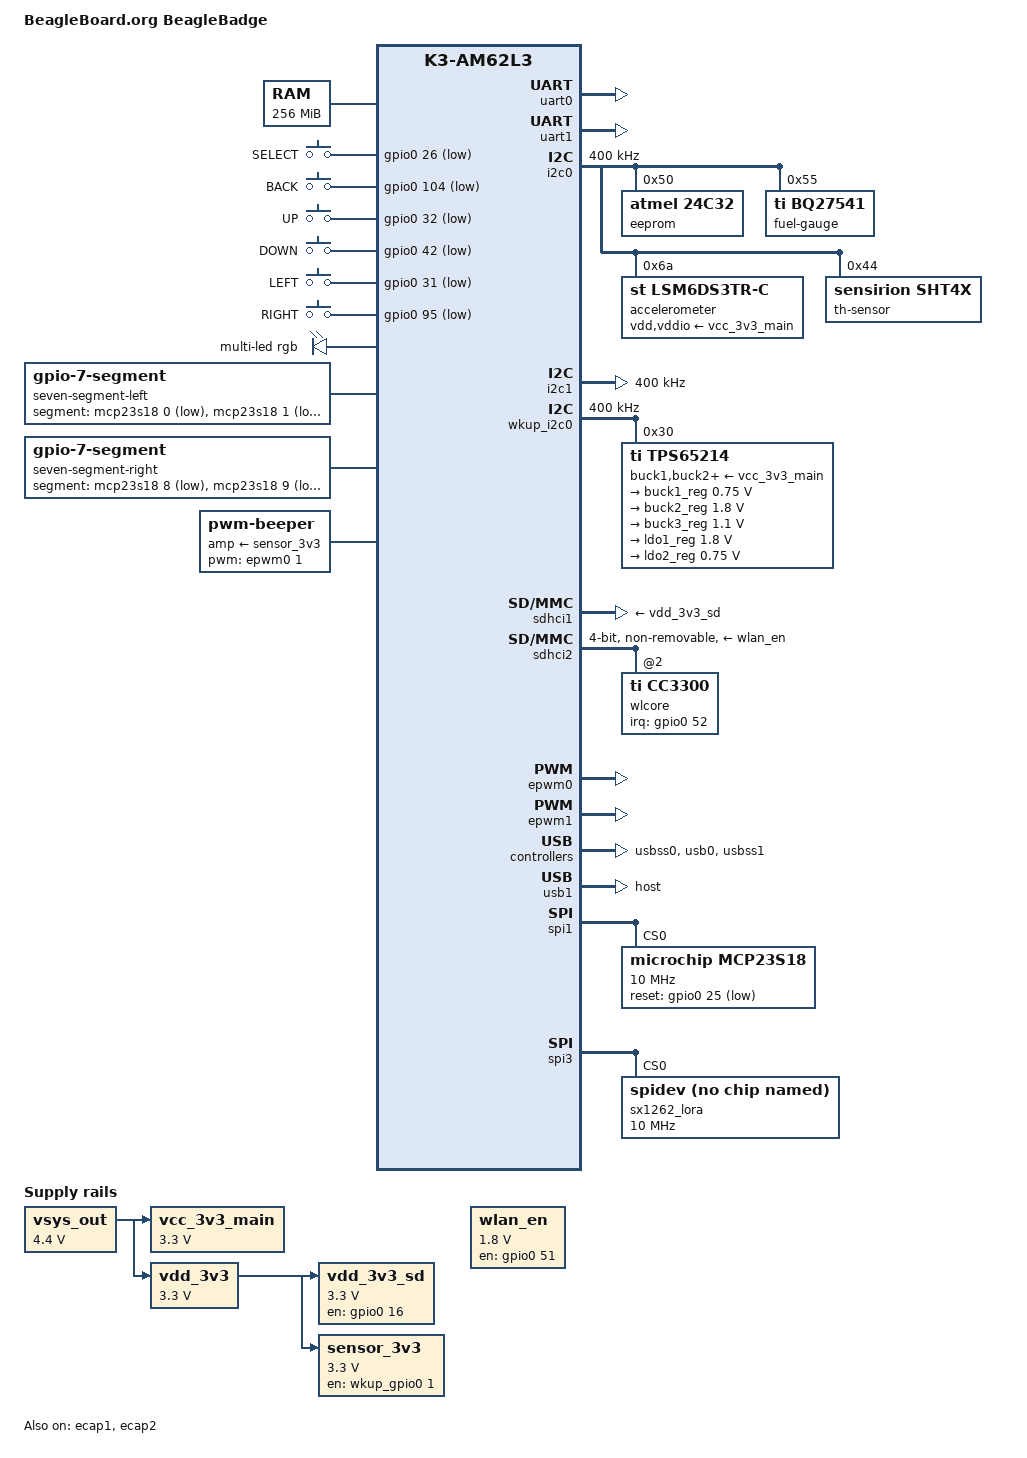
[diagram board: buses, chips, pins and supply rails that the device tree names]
// SPDX-License-Identifier: GPL-2.0
/*
 * https://www.beagleboard.org/boards/beaglebadge
 *
 * Copyright (C) 2026 Texas Instruments Incorporated - https://www.ti.com/
 */

/dts-v1/;

#include <dt-bindings/gpio/gpio.h>
#include <dt-bindings/input/input.h>
#include <dt-bindings/leds/common.h>
#include <dt-bindings/net/ti-dp83867.h>
#include "k3-am62l3.dtsi"
#include "k3-pinctrl.h"

/ {
	compatible = "beagle,am62l3-badge", "ti,am62l3";
	model = "BeagleBoard.org BeagleBadge";

	chosen {
		stdout-path = &uart0;
	};

	aliases {
		gpio0 = &gpio0;
		gpio1 = &gpio2;
		gpio2 = &wkup_gpio0;
		i2c0 = &i2c0;
		i2c1 = &i2c1;
		i2c4 = &wkup_i2c0;
		mmc1 = &sdhci1;
		mmc2 = &sdhci2;
		serial3 = &uart1;
		usb0 = &usb0;
		usb1 = &usb1;
	};

	memory@80000000 {
		/* 256MB */
		reg = <0x00000000 0x80000000 0x00000000 0x10000000>;
		device_type = "memory";
		bootph-all;
	};

	gpio_keys: gpio-keys {
		compatible = "gpio-keys";
		autorepeat;
		pinctrl-names = "default";
		pinctrl-0 = <&usr_button_default_pins>;

		button-select {
			label = "SELECT";
			linux,code = <KEY_SELECT>;
			gpios = <&gpio0 26 GPIO_ACTIVE_LOW>;
		};

		button-back {
			label = "BACK";
			linux,code = <KEY_BACK>;
			gpios = <&gpio0 104 GPIO_ACTIVE_LOW>;
		};

		button-up {
			label = "UP";
			linux,code = <KEY_UP>;
			gpios = <&gpio0 32 GPIO_ACTIVE_LOW>;
		};

		button-down {
			label = "DOWN";
			linux,code = <KEY_DOWN>;
			gpios = <&gpio0 42 GPIO_ACTIVE_LOW>;
		};

		button-left {
			label = "LEFT";
			linux,code = <KEY_LEFT>;
			gpios = <&gpio0 31 GPIO_ACTIVE_LOW>;
		};

		button-right {
			label = "RIGHT";
			linux,code = <KEY_RIGHT>;
			gpios = <&gpio0 95 GPIO_ACTIVE_LOW>;
		};
	};

	multicolor-led {
		compatible = "pwm-leds-multicolor";
		pinctrl-names = "default";
		pinctrl-0 = <&rgb_led_default_pins>;

		multi-led {
			color = <LED_COLOR_ID_RGB>;
			max-brightness = <255>;

			led-red {
				pwms = <&ecap2 0 255 0>;
				color = <LED_COLOR_ID_RED>;
			};

			led-green {
				pwms = <&ecap1 0 255 0>;
				color = <LED_COLOR_ID_GREEN>;
			};

			led-blue {
				pwms = <&epwm1 1 255 0>;
				color = <LED_COLOR_ID_BLUE>;
			};
		};
	};

	seven-segment-left {
		compatible = "gpio-7-segment";
		segment-gpios = <&mcp23s18 0 GPIO_ACTIVE_LOW>,
				<&mcp23s18 1 GPIO_ACTIVE_LOW>,
				<&mcp23s18 2 GPIO_ACTIVE_LOW>,
				<&mcp23s18 3 GPIO_ACTIVE_LOW>,
				<&mcp23s18 4 GPIO_ACTIVE_LOW>,
				<&mcp23s18 5 GPIO_ACTIVE_LOW>,
				<&mcp23s18 6 GPIO_ACTIVE_LOW>,
				<&mcp23s18 7 GPIO_ACTIVE_LOW>;
	};

	seven-segment-right {
		compatible = "gpio-7-segment";
		segment-gpios = <&mcp23s18 8 GPIO_ACTIVE_LOW>,
				<&mcp23s18 9 GPIO_ACTIVE_LOW>,
				<&mcp23s18 10 GPIO_ACTIVE_LOW>,
				<&mcp23s18 11 GPIO_ACTIVE_LOW>,
				<&mcp23s18 12 GPIO_ACTIVE_LOW>,
				<&mcp23s18 13 GPIO_ACTIVE_LOW>,
				<&mcp23s18 14 GPIO_ACTIVE_LOW>,
				<&mcp23s18 15 GPIO_ACTIVE_LOW>;
	};

	pwm-beeper {
		compatible = "pwm-beeper";
		pwms = <&epwm0 1 1000000 0>;
		amp-supply = <&sensor_3v3>;
		pinctrl-names = "default";
		pinctrl-0 = <&pwm_beeper_default_pins>;
	};

	vsys_out: regulator-0 {
		/* output of BQ24070 */
		compatible = "regulator-fixed";
		regulator-name = "VSYS_OUT";
		regulator-min-microvolt = <4400000>;
		regulator-max-microvolt = <4400000>;
		regulator-always-on;
		regulator-boot-on;
		bootph-all;
	};

	vcc_3v3_main: regulator-1 {
		/* output of TPS62A06 */
		compatible = "regulator-fixed";
		regulator-name = "VCC_3V3_MAIN";
		regulator-min-microvolt = <3300000>;
		regulator-max-microvolt = <3300000>;
		vin-supply = <&vsys_out>;
		regulator-always-on;
		regulator-boot-on;
		bootph-all;
	};

	vdd_3v3: regulator-2 {
		/* output of TPS22965 */
		compatible = "regulator-fixed";
		regulator-name = "VDD_3V3";
		regulator-min-microvolt = <3300000>;
		regulator-max-microvolt = <3300000>;
		vin-supply = <&vsys_out>;
		regulator-always-on;
		regulator-boot-on;
		bootph-all;
	};

	vdd_3v3_sd: regulator-3 {
		/* TPS22918DBVR */
		compatible = "regulator-fixed";
		regulator-name = "VDD_3V3_SD";
		regulator-min-microvolt = <3300000>;
		regulator-max-microvolt = <3300000>;
		vin-supply = <&vdd_3v3>;
		regulator-boot-on;
		enable-active-high;
		gpio = <&gpio0 16 GPIO_ACTIVE_HIGH>;
		pinctrl-names = "default";
		pinctrl-0 = <&vdd_3v3_sd_ena_default_pins>;
		bootph-all;
	};

	sensor_3v3: regulator-4 {
		/* TPS22918DBVR */
		compatible = "regulator-fixed";
		regulator-name = "Sensor_3V3";
		regulator-min-microvolt = <3300000>;
		regulator-max-microvolt = <3300000>;
		vin-supply = <&vdd_3v3>;
		regulator-boot-on;
		regulator-always-on;
		enable-active-high;
		gpio = <&wkup_gpio0 1 GPIO_ACTIVE_HIGH>;
		pinctrl-names = "default";
		pinctrl-0 = <&sensor_3v3_ena_default_pins>;
		bootph-all;
	};

	wlan_en: regulator-5 {
		compatible = "regulator-fixed";
		regulator-name = "wlan_en";
		regulator-min-microvolt = <1800000>;
		regulator-max-microvolt = <1800000>;
		enable-active-high;
		gpios = <&gpio0 51 GPIO_ACTIVE_HIGH>;
		pinctrl-names = "default";
		pinctrl-0 = <&wlan_en_pins_default>;
	};
};

&pmx0 {
	uart0_default_pins: uart0-default-pins {
		pinctrl-single,pins = <
			AM62LX_IOPAD(0x01b8, PIN_OUTPUT, 0) /* (C13) UART0_TXD */
			AM62LX_IOPAD(0x01b4, PIN_INPUT, 0) /* (D13) UART0_RXD */
		>;
		bootph-all;
	};

	uart0_wakeup_pins: uart0-wakeup-pins {
		pinctrl-single,pins = <
			AM62LX_IOPAD(0x01b8, PIN_OUTPUT, 0) /* (C13) UART0_TXD */
			AM62LX_IOPAD(0x01b4, PIN_INPUT | PIN_WKUP_EN, 0) /* (D13) UART0_RXD */
		>;
		bootph-all;
	};

	uart1_default_pins: uart1-default-pins {
		pinctrl-single,pins = <
			AM62LX_IOPAD(0x019c, PIN_OUTPUT, 2) /* (A12) UART1_TXD */
			AM62LX_IOPAD(0x0198, PIN_INPUT, 2) /* (C11) UART1_RXD */
			AM62LX_IOPAD(0x0180, PIN_INPUT, 2) /* (A8) UART1_CTS */
			AM62LX_IOPAD(0x0184, PIN_OUTPUT, 2) /* (B10) UART1_RTS */
		>;
		bootph-all;
	};

	usr_button_default_pins: usr-button-default-pins {
		pinctrl-single,pins = <
			AM62LX_IOPAD(0x00a4, PIN_INPUT, 7) /* (H18) GPMC0_AD11.GPIO0_26 */
			AM62LX_IOPAD(0x01e4, PIN_INPUT, 7) /* (D16) EXT_REFCLK1.GPIO0_104 */
			AM62LX_IOPAD(0x00c0, PIN_INPUT, 7) /* (N19) GPMC0_ADVn_ALE.GPIO0_32 */
			AM62LX_IOPAD(0x00e8, PIN_INPUT, 7) /* (L19) GPMC0_CSn1.GPIO0_42 */
			AM62LX_IOPAD(0x00b8, PIN_INPUT, 7) /* (L21) GPMC0_CLK.GPIO0_31 */
			AM62LX_IOPAD(0x01c0, PIN_INPUT, 7) /* (B13) UART0_RTSn.GPIO0_95 */
		>;
	};

	i2c0_default_pins: i2c0-default-pins {
		pinctrl-single,pins = <
			AM62LX_IOPAD(0x01cc, PIN_INPUT_PULLUP, 0) /* (B7) I2C0_SCL */
			AM62LX_IOPAD(0x01d0, PIN_INPUT_PULLUP, 0) /* (A7) I2C0_SDA */
		>;
		bootph-all;
	};

	i2c1_default_pins: i2c1-default-pins {
		pinctrl-single,pins = <
			AM62LX_IOPAD(0x01d4, PIN_INPUT_PULLUP, 0) /* (D7) I2C1_SCL */
			AM62LX_IOPAD(0x01d8, PIN_INPUT_PULLUP, 0) /* (A6) I2C1_SDA */
		>;
		bootph-all;
	};

	vdd_3v3_sd_ena_default_pins: vdd-3v3-sd-ena-default-pins {
		pinctrl-single,pins = <
			AM62LX_IOPAD(0x07c, PIN_OUTPUT, 7) /* (L23) GPMC0_AD1.GPIO0_16 */
		>;
		bootph-all;
	};

	sensor_3v3_ena_default_pins: sensor-3v3-ena-default-pins {
		pinctrl-single,pins = <
			AM62LX_IOPAD(0x004, PIN_OUTPUT, 7) /* (AA23) WKUP_UART0_TXD.WKUP_GPIO0_1 */
		>;
	};

	mmc1_default_pins: mmc1-default-pins {
		pinctrl-single,pins = <
			AM62LX_IOPAD(0x0230, PIN_INPUT, 0) /* (Y3) MMC1_CMD */
			AM62LX_IOPAD(0x0228, PIN_OUTPUT, 0) /* (Y2) MMC1_CLK */
			AM62LX_IOPAD(0x0224, PIN_INPUT, 0) /* (AA1) MMC1_DAT0 */
			AM62LX_IOPAD(0x0220, PIN_INPUT, 0) /* (Y4) MMC1_DAT1 */
			AM62LX_IOPAD(0x021c, PIN_INPUT, 0) /* (AA2) MMC1_DAT2 */
			AM62LX_IOPAD(0x0218, PIN_INPUT, 0) /* (AB2) MMC1_DAT3 */
			AM62LX_IOPAD(0x0234, PIN_INPUT, 0) /* (B6) MMC1_SDCD */
		>;
		bootph-all;
	};

	mmc2_pins_default: mmc2-default-pins {
		pinctrl-single,pins = <
			AM62LX_IOPAD(0x010c, PIN_INPUT, 0) /* (U23) MMC2_CMD */
			AM62LX_IOPAD(0x0104, PIN_OUTPUT, 0) /* (R23) MMC2_CLK */
			AM62LX_IOPAD(0x0108, PIN_INPUT, 0) /* () MMC2_CLKLB */
			AM62LX_IOPAD(0x0100, PIN_INPUT, 0) /* (U22) MMC2_DAT0 */
			AM62LX_IOPAD(0x00fc, PIN_INPUT, 0) /* (T22) MMC2_DAT1 */
			AM62LX_IOPAD(0x00f8, PIN_INPUT, 0) /* (T23) MMC2_DAT2 */
			AM62LX_IOPAD(0x00f4, PIN_INPUT, 0) /* (R22) MMC2_DAT3 */
		>;
	};

	wlan_en_pins_default: wlan-en-pins-default {
		pinctrl-single,pins = <
			AM62LX_IOPAD(0x0110, PIN_OUTPUT, 7) /* (T20) MMC2_SDCD.GPIO0_51 */
		>;
	};

	wlirq_pins_default: wlirq-pins-default {
		pinctrl-single,pins = <
			AM62LX_IOPAD(0x0114, PIN_INPUT, 7) /* (T21) MMC2_SDWP.GPIO0_52 */
		>;
	};

	usb1_default_pins: usb1-default-pins {
		pinctrl-single,pins = <
			AM62LX_IOPAD(0x0248, PIN_INPUT | PIN_DS_PULLUD_ENABLE | PIN_DS_PULL_UP, 0) /* (A5) USB1_DRVVBUS */
		>;
		bootph-all;
	};

	pwm_beeper_default_pins: pwm-beeper-default-pins {
		pinctrl-single,pins = <
			AM62LX_IOPAD(0x00b0, PIN_OUTPUT, 4) /* (F22) GPMC0_AD14.EHRPWM0_B */
		>;
	};

	pmic_irq_default_pins: pmic-irq-default-pins {
		pinctrl-single,pins = <
			AM62LX_IOPAD(0x01e8, PIN_INPUT, 0) /* (C8) EXTINTn */
		>;
		bootph-all;
	};

	wkup_i2c0_default_pins: wkup-i2c0-default-pins {
		pinctrl-single,pins = <
			AM62LX_IOPAD(0x0010, PIN_INPUT_PULLUP, 0) /* (AB22) WKUP_I2C0_SCL */
			AM62LX_IOPAD(0x0014, PIN_INPUT_PULLUP, 0) /* (AA22) WKUP_I2C0_SDA */
		>;
		bootph-all;
	};

	rgb_led_default_pins: rgb-led-default-pins {
		pinctrl-single,pins = <
			AM62LX_IOPAD(0x0190, PIN_OUTPUT, 2) /* (A11) MCASP0_ACLKX.ECAP2_IN_APWM_OUT */
			AM62LX_IOPAD(0x0188, PIN_OUTPUT, 2) /* (A9) MCASP0_AXR1.ECAP1_IN_APWM_OUT */
			AM62LX_IOPAD(0x018c, PIN_OUTPUT, 5) /* (B9) MCASP0_AXR0.EHRPWM1_B */
		>;
	};

	spi1_pins_default: spi1-default-pins {
		pinctrl-single,pins = <
			AM62LX_IOPAD(0x008c, PIN_OUTPUT, 4) /* (H22) GPMC0_AD5.SPI1_CLK */
			AM62LX_IOPAD(0x0088, PIN_OUTPUT, 4) /* (K23) GPMC0_AD4.SPI1_CS0 */
			AM62LX_IOPAD(0x0080, PIN_INPUT, 4) /* (K22) GPMC0_AD2.SPI1_D0 */
			AM62LX_IOPAD(0x0084, PIN_OUTPUT, 4) /* (J23) GPMC0_AD3.SPI1_D1 */
		>;
		bootph-all;
	};

	spi3_pins_default: spi3-default-pins {
		pinctrl-single,pins = <
			AM62LX_IOPAD(0x00d0, PIN_OUTPUT, 5) /* (P22) GPMC0_BE1n.SPI3_CLK */
			AM62LX_IOPAD(0x00cc, PIN_OUTPUT, 5) /* (P23) GPMC0_BE0n_CLE.SPI3_CS0 */
			AM62LX_IOPAD(0x00d4, PIN_INPUT, 5) /* (N23) GPMC0_WAIT0.SPI3_D0 */
			AM62LX_IOPAD(0x00d8, PIN_OUTPUT, 5) /* (N22) GPMC0_WAIT1.SPI3_D1 */
		>;
	};

	mcp23s18_reset_pins_default: mcp23s18-reset-default-pins {
		pinctrl-single,pins = <
			AM62LX_IOPAD(0x00a0, PIN_OUTPUT, 4) /* (H21) GPMC0_AD10.GPIO0_25 */
		>;
	};

	lora_control_pins_default: lora-control-default-pins {
		pinctrl-single,pins = <
			AM62LX_IOPAD(0x00c8, PIN_OUTPUT, 7) /* (M19) GPMC0_WEn.GPIO0_34 */
			AM62LX_IOPAD(0x00e4, PIN_OUTPUT, 7) /* (L20) GPMC0_CSn0.GPIO0_41 */
			AM62LX_IOPAD(0x01a4, PIN_INPUT, 7) /* (D11) SPI0_CS1.GPIO0_88 */
			AM62LX_IOPAD(0x01bc, PIN_INPUT, 7) /* (B14) UART0_CTSn.GPIO0_94 */
		>;
	};
};

&uart0 {
	wakeup-source;
	pinctrl-0 = <&uart0_default_pins>;
	pinctrl-1 = <&uart0_wakeup_pins>;
	pinctrl-names = "default", "wakeup";
	bootph-all;
	status = "okay";
};

&uart1 {
	pinctrl-names = "default";
	pinctrl-0 = <&uart1_default_pins>;
	bootph-all;
	status = "okay";
};

&i2c0 {
	clock-frequency = <400000>;
	pinctrl-names = "default";
	pinctrl-0 = <&i2c0_default_pins>;
	bootph-all;
	status = "okay";

	/* EEPROM */
	eeprom@50 {
		/* FT24C32A-ELRT */
		compatible = "atmel,24c32";
		reg = <0x50>;
	};

	/* Fuel Gauge */
	fuel-gauge@55 {
		compatible = "ti,bq27541";
		reg = <0x55>;
	};

	/* IMU Sensor */
	accelerometer@6a {
		compatible = "st,lsm6ds3tr-c";
		reg = <0x6a>;
		vdd-supply = <&vcc_3v3_main>;
		vddio-supply = <&vcc_3v3_main>;
	};

	/* T&H Sensor */
	th-sensor@44 {
		compatible = "sensirion,sht4x";
		reg = <0x44>;
	};
};

&i2c1 {
	clock-frequency = <400000>;
	pinctrl-names = "default";
	pinctrl-0 = <&i2c1_default_pins>;
	bootph-all;
	status = "okay";
};

&wkup_i2c0 {
	clock-frequency = <400000>;
	pinctrl-names = "default";
	pinctrl-0 = <&wkup_i2c0_default_pins>;
	status = "okay";

	tps65214: pmic@30 {
		compatible = "ti,tps65214";
		reg = <0x30>;
		interrupt-parent = <&gic500>;
		interrupts = <GIC_SPI 224 IRQ_TYPE_LEVEL_HIGH>;
		buck1-supply = <&vcc_3v3_main>;
		buck2-supply = <&vcc_3v3_main>;
		buck3-supply = <&vcc_3v3_main>;
		ldo1-supply = <&vcc_3v3_main>;
		ldo2-supply = <&vcc_3v3_main>;
		pinctrl-names = "default";
		pinctrl-0 = <&pmic_irq_default_pins>;
		ti,power-button;

		regulators {
			buck1_reg: buck1 {
				regulator-name = "VDD_CORE";
				regulator-min-microvolt = <750000>;
				regulator-max-microvolt = <750000>;
				regulator-always-on;
				regulator-boot-on;
			};

			buck2_reg: buck2 {
				regulator-name = "VDD_1V8";
				regulator-min-microvolt = <1800000>;
				regulator-max-microvolt = <1800000>;
				regulator-always-on;
				regulator-boot-on;
			};

			buck3_reg: buck3 {
				regulator-name = "VDD_LPDDR4";
				regulator-min-microvolt = <1100000>;
				regulator-max-microvolt = <1100000>;
				regulator-always-on;
				regulator-boot-on;
			};

			ldo1_reg: ldo1 {
				regulator-name = "VDDA_1V8";
				regulator-min-microvolt = <1800000>;
				regulator-max-microvolt = <1800000>;
				regulator-always-on;
				regulator-boot-on;
			};

			ldo2_reg: ldo2 {
				regulator-name = "PMIC_VDD_RTC";
				regulator-min-microvolt = <750000>;
				regulator-max-microvolt = <750000>;
				regulator-always-on;
				regulator-boot-on;
			};
		};
	};
};

&gpio0 {
	gpio-line-names ="","","","","","","","","","",				/* 0-9 */
			 "","","","","","","VDD_3V3_SD_ENA","","","",		/* 10-19 */
			 "","","","","","MCP23S18_RESET","USR0","","","",	/* 20-29 */
			 "","USR1","USR2","","LORA_RESET","","","","","",	/* 30-39 */
			 "","LORA_RFSW","USR3","","","","","","","",		/* 40-49 */
			 "","VDD_WLAN_EN","WL_IRQ","","","","","","","",	/* 50-59 */
			 "","","","","","","","","","",				/* 60-69 */
			 "","","","","","","","","","",				/* 70-79 */
			 "","","","","","","","","LORA_BUSY","",		/* 80-89 */
			 "","","","","LORA_DIO","USR4","","","","",		/* 90-99 */
			 "","","","","USR5","","","","","";			/* 100-109 */
	pinctrl-names = "default";
	pinctrl-0 = <&lora_control_pins_default>;
	bootph-all;
	status = "okay";
};

&gpio2 {
	bootph-all;
	status = "okay";
};

&wkup_gpio0 {
	gpio-line-names ="","SENSOR_3V3_ENA","","","","","","";			/* 0-7 */
	bootph-all;
	status = "okay";
};

&sdhci1 {
	/* SD/MMC */
	vmmc-supply = <&vdd_3v3_sd>;
	disable-wp;
	pinctrl-names = "default";
	pinctrl-0 = <&mmc1_default_pins>;
	bootph-all;
	status = "okay";
};

&sdhci2 {
	vmmc-supply = <&wlan_en>;
	bus-width = <4>;
	non-removable;
	cap-power-off-card;
	keep-power-in-suspend;
	#address-cells = <1>;
	#size-cells = <0>;
	pinctrl-names = "default";
	pinctrl-0 = <&mmc2_pins_default>;
	ti,driver-strength-ohm = <50>;
	ti,fails-without-test-cd;
	status = "okay";

	wlcore: wlcore@2 {
		compatible = "ti,cc3300";
		reg = <2>;
		interrupt-parent = <&gpio0>;
		interrupts = <52 IRQ_TYPE_EDGE_RISING>;
		pinctrl-names = "default";
		pinctrl-0 = <&wlirq_pins_default>;
	};
};

&epwm0 {
	status = "okay";
};

&epwm1 {
	status = "okay";
};

&ecap1 {
	status = "okay";
};

&ecap2 {
	status = "okay";
};

&usbss0 {
	ti,vbus-divider;
	status = "okay";
};

&usb0 {
	usb-role-switch;
	bootph-all;
	status = "okay";
};

&usbss1 {
	ti,vbus-divider;
	bootph-all;
	status = "okay";
};

&usb1 {
	dr_mode = "host";
	pinctrl-names = "default";
	pinctrl-0 = <&usb1_default_pins>;
	bootph-all;
	status = "okay";
};

&spi1 {
	pinctrl-names = "default";
	pinctrl-0 = <&spi1_pins_default>;
	status = "okay";

	mcp23s18: gpio@0 {
		compatible = "microchip,mcp23s18";
		reg = <0>;
		spi-max-frequency = <10000000>;
		gpio-controller;
		#gpio-cells = <2>;
		reset-gpios = <&gpio0 25 GPIO_ACTIVE_LOW>;
		pinctrl-names = "default";
		pinctrl-0 = <&mcp23s18_reset_pins_default>;
		microchip,spi-present-mask = <0x01>;
	};
};

&spi3 {
	pinctrl-names = "default";
	pinctrl-0 = <&spi3_pins_default>;
	status = "okay";

	sx1262_lora: lora@0 {
		compatible = "rohm,dh2228fv";
		reg = <0>;
		spi-max-frequency = <10000000>;
	};
};
